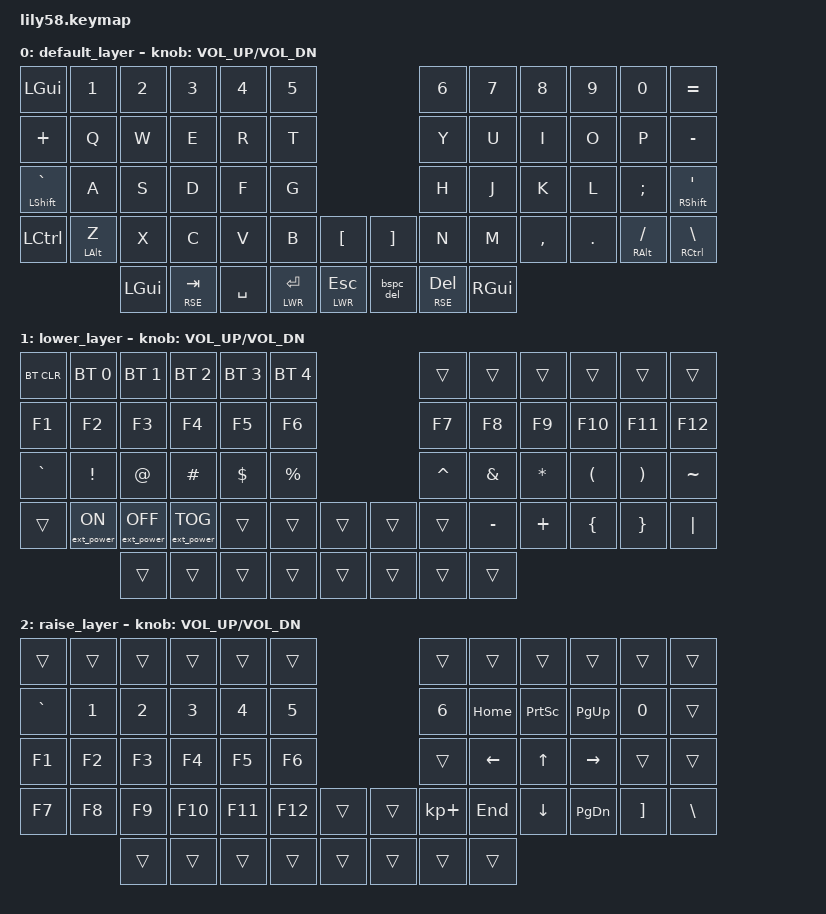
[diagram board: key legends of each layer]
/*
 * Copyright (c) 2020 The ZMK Contributors
 *
 * SPDX-License-Identifier: MIT
 */

#include <behaviors.dtsi>
#include <dt-bindings/zmk/bt.h>
#include <dt-bindings/zmk/ext_power.h>
#include <dt-bindings/zmk/keys.h>

#define DEF 0
#define LWR 1
#define RSE 2
#define ADJ 3

/ {
    combos {
        compatible = "zmk,combos";

        combo_esc {
            timeout-ms = <50>;
            key-positions = <0 1>;
            bindings = <&kp ESC>;
        };
    };

    behaviors {

        bspc_del: backspace_delete {
            compatible = "zmk,behavior-mod-morph";
            #binding-cells = <0>;
            bindings = <&kp BACKSPACE>, <&kp DELETE>;
            mods = <(MOD_LSFT|MOD_RSFT)>;
            keep-mods = <0>;
        };

        ss_hs_modmorph: ss_hs_modmorph {
            compatible = "zmk,behavior-mod-morph";
            label = "SS_HS_MODMORPH";
            bindings = <&kp M>, <&kp RIGHT_BRACKET>;

            #binding-cells = <0>;
            mods = <(MOD_LSFT|MOD_RSFT)>;
        };

        kh_hs_tapdance: kh_hs_tapdance {
            compatible = "zmk,behavior-tap-dance";
            label = "KH_HS_TAPDANCE";
            #binding-cells = <0>;
            tapping-term-ms = <200>;
            bindings = <&kp LEFT_BRACKET>, <&kp RIGHT_BRACKET>;
        };

        hrm: hrm {
            compatible = "zmk,behavior-hold-tap";
            #binding-cells = <2>;
            flavor = "tap-preferred";
            tapping-term-ms = <200>;
            quick-tap-ms = <200>;
            require-prior-idle-ms = <125>;
            bindings = <&kp>, <&kp>;
        };
    };

    keymap {
        compatible = "zmk,keymap";

        default_layer {
            // ------------------------------------------------------------------------------------------------------------
            // |  ESC  |  1  |  2  |  3   |  4   |  5   |                   |  6   |  7    |  8    |  9   |   0   |   `   |
            // |  TAB  |  Q  |  W  |  E   |  R   |  T   |                   |  Y   |  U    |  I    |  O   |   P   |   -   |
            // |  CTRL |  A  |  S  |  D   |  F   |  G   |                   |  H   |  J    |  K    |  L   |   ;   |   '   |
            // | SHIFT |  Z  |  X  |  C   |  V   |  B   |   "["  |  |  "]"  |  N   |  M    |  ,    |  .   |   /   | SHIFT |
            //                     | ALT  | GUI  | LOWER|  SPACE |  | ENTER | RAISE| BSPC  | GUI   |

            bindings = <
&kp LGUI          &kp N1       &kp N2  &kp N3    &kp N4        &kp N5                              &kp N6        &kp N7      &kp N8      &kp N9   &kp N0        &kp EQUAL
&kp PLUS          &kp Q        &kp W   &kp E     &kp R         &kp T                               &kp Y         &kp U       &kp I       &kp O    &kp P         &kp MINUS
&mt LSHFT GRAVE   &kp A        &kp S   &kp D     &kp F         &kp G                               &kp H         &kp J       &kp K       &kp L    &kp SEMI      &mt RSHFT SQT
&kp LCTRL         &mt LALT Z   &kp X   &kp C     &kp V         &kp B     &kp LBKT     &kp RBKT     &kp N         &kp M       &kp COMMA   &kp DOT  &mt RALT FSLH &mt RCTRL BACKSLASH
                           &kp LGUI  &lt RSE TAB   &kp SPACE &lt LWR RET  &lt LWR ESC  &bspc_del     &lt RSE DEL &kp RGUI
            >;

            sensor-bindings = <&inc_dec_kp C_VOL_UP C_VOL_DN>;
        };

        lower_layer {
            // ------------------------------------------------------------------------------------------------------------
            // | BTCLR | BT1 | BT2 |  BT3 |  BT4 |  BT5 |                   |      |       |       |      |       |       |
            // |  F1   |  F2 |  F3 |  F4  |  F5  |  F6  |                   |  F7  |  F8   |  F9   |  F10 |  F11  |  F12  |
            // |   `   |  !  |  @  |  #   |  $   |  %   |                   |  ^   |  &    |  *    |  (   |   )   |   ~   |
            // |       |     |     |      |      |      |        |  |       |      |  _    |  +    |  {   |   }   |  "|"  |
            //                     |      |      |      |        |  |       |      |       |       |

            bindings = <
&bt BT_CLR  &bt BT_SEL 0      &bt BT_SEL 1       &bt BT_SEL 2       &bt BT_SEL 3  &bt BT_SEL 4                    &trans     &trans     &trans     &trans    &trans    &trans
&kp F1      &kp F2            &kp F3             &kp F4             &kp F5        &kp F6                          &kp F7     &kp F8     &kp F9     &kp F10   &kp F11   &kp F12
&kp GRAVE   &kp EXCL          &kp AT             &kp HASH           &kp DOLLAR    &kp PRCNT                       &kp CARET  &kp AMPS   &kp ASTRK  &kp LPAR  &kp RPAR  &kp TILDE
&trans      &ext_power EP_ON  &ext_power EP_OFF  &ext_power EP_TOG  &trans        &trans        &trans    &trans  &trans     &kp MINUS  &kp PLUS   &kp LBRC  &kp RBRC  &kp PIPE
                                                 &trans             &trans        &trans        &trans    &trans  &trans     &trans     &trans
            >;

            sensor-bindings = <&inc_dec_kp C_VOL_UP C_VOL_DN>;
        };

        raise_layer {
            // ------------------------------------------------------------------------------------------------------------
            // |       |     |     |      |      |      |                   |      |       |       |      |       |       |
            // |   `   |  1  |  2  |  3   |  4   |  5   |                   |  6   |   7   |   8   |  9   |   0   |       |
            // |   F1  |  F2 |  F3 |  F4  |  F5  |  F6  |                   |      |   <-  |   v   |  ^   |  ->   |       |
            // |   F7  |  F8 |  F9 |  F10 |  F11 |  F12 |        |  |       |  +   |   -   |   =   |  [   |   ]   |   \   |
            //                     |      |      |      |        |  |       |      |       |       |

            bindings = <
&trans     &trans  &trans  &trans   &trans   &trans                     &trans       &trans     &trans     &trans       &trans     &trans
&kp GRAVE  &kp N1  &kp N2  &kp N3   &kp N4   &kp N5                     &kp N6       &kp HOME   &kp PSCRN  &kp PG_UP    &kp N0     &trans
&kp F1     &kp F2  &kp F3  &kp F4   &kp F5   &kp F6                     &trans       &kp LEFT   &kp UP     &kp RIGHT    &trans     &trans
&kp F7     &kp F8  &kp F9  &kp F10  &kp F11  &kp F12  &trans    &trans  &kp KP_PLUS  &kp END    &kp DOWN   &kp PG_DN    &kp RBKT   &kp BSLH
                           &trans   &trans   &trans   &trans    &trans  &trans       &trans     &trans
            >;

            sensor-bindings = <&inc_dec_kp C_VOL_UP C_VOL_DN>;
        };
    };
};
